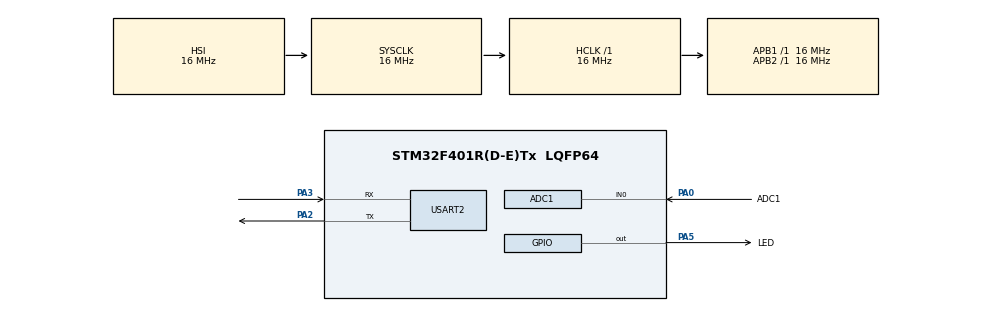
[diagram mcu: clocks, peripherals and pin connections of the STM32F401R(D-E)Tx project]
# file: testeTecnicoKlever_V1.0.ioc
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ADC1.Channel-0\#ChannelRegularConversion=ADC_CHANNEL_0
ADC1.NbrOfConversionFlag=1
ADC1.Rank-0\#ChannelRegularConversion=1
ADC1.SamplingTime-0\#ChannelRegularConversion=ADC_SAMPLETIME_3CYCLES
ADC1.master=1
FREERTOS.Tasks01=ADC_Task,-1,128,ADCTask,Default,NULL,Dynamic,NULL,NULL;SERIAL_Task,0,128,SerialTask,Default,NULL,Dynamic,NULL,NULL;LED_Task,-2,128,LedTask,Default,NULL,Dynamic,NULL,NULL
Mcu.Family=STM32F4
Mcu.Name=STM32F401R(D-E)Tx
Mcu.Package=LQFP64
NVIC.PriorityGroup=NVIC_PRIORITYGROUP_4
NVIC.TIM1_UP_TIM10_IRQn=true\:0\:0\:false\:false\:true\:false\:false\:true
NVIC.TimeBase=TIM1_UP_TIM10_IRQn
NVIC.TimeBaseIP=TIM1
NVIC.USART2_IRQn=true\:5\:0\:false\:false\:true\:true\:true\:true
PA0-WKUP.GPIO_Label=ADC1
PA0-WKUP.Signal=ADCx_IN0
PA13.Mode=Serial_Wire
PA13.Signal=SYS_JTMS-SWDIO
PA14.Mode=Serial_Wire
PA14.Signal=SYS_JTCK-SWCLK
PA2.Mode=Asynchronous
PA2.Signal=USART2_TX
PA3.Mode=Asynchronous
PA3.Signal=USART2_RX
PA5.GPIO_Label=LED
PA5.Signal=GPIO_Output
ProjectManager.HeapSize=0x200
ProjectManager.StackSize=0x400
ProjectManager.TargetToolchain=STM32CubeIDE
RCC.AHBFreq_Value=16000000
RCC.APB1Freq_Value=16000000
RCC.APB2Freq_Value=16000000
RCC.CortexFreq_Value=16000000
RCC.HSE_VALUE=25000000
RCC.HSI_VALUE=16000000
RCC.LSE_VALUE=32768
RCC.SYSCLKFreq_VALUE=16000000
RCC.VCOOutputFreq_Value=192000000
SH.ADCx_IN0.0=ADC1_IN0,IN0
USART2.VirtualMode=VM_ASYNC
VP_FREERTOS_VS_CMSIS_V1.Mode=CMSIS_V1
VP_SYS_VS_tim1.Mode=TIM1
board=custom

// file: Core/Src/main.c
/* USER CODE BEGIN Header */
/**
  ******************************************************************************
  * @file           : main.c
  * @brief          : Main program body
  ******************************************************************************
  * @attention
  *
  * <h2><center>&copy; Copyright (c) 2021 STMicroelectronics.
  * All rights reserved.</center></h2>
  *
  * This software component is licensed by ST under Ultimate Liberty license
  * SLA0044, the "License"; You may not use this file except in compliance with
  * the License. You may obtain a copy of the License at:
  *                             www.st.com/SLA0044
  *
  ******************************************************************************
  */
/* USER CODE END Header */
#include "main.h"
#include "cmsis_os.h"
#include "adc.h"
#include "usart.h"
#include "gpio.h"

/* USER CODE BEGIN Includes */
#include "queue.h"
#include "semphr.h"
/* USER CODE END Includes */

/* USER CODE BEGIN PV */
uint8_t DummyRxConsole;
/* USER CODE END PV */

void SystemClock_Config(void);
void MX_FREERTOS_Init(void);

int main(void)
{

  /* MCU Configuration--------------------------------------------------------*/

  /* Reset of all peripherals, Initializes the Flash interface and the Systick. */
  HAL_Init();

  /* Configure the system clock */
  SystemClock_Config();

  /* Initialize all configured peripherals */
  MX_GPIO_Init();
  MX_ADC1_Init();
  MX_USART2_UART_Init();
  /* USER CODE BEGIN 2 */
  /* Inicializa interrupção da Serial */
  HAL_UART_Receive_IT(&huart2,&DummyRxConsole, 1);
  /* Inicia ADC */
  HAL_ADC_Start(&hadc1);
  /* USER CODE END 2 */

  /* Call init function for freertos objects (in freertos.c) */
  MX_FREERTOS_Init();
  /* Start scheduler */
  osKernelStart();

  /* We should never get here as control is now taken by the scheduler */
  /* Infinite loop */
  while (1)
  {

  }
}

void SystemClock_Config(void)
{
  RCC_OscInitTypeDef RCC_OscInitStruct = {0};
  RCC_ClkInitTypeDef RCC_ClkInitStruct = {0};

  /** Configure the main internal regulator output voltage
  */
  __HAL_RCC_PWR_CLK_ENABLE();
  __HAL_PWR_VOLTAGESCALING_CONFIG(PWR_REGULATOR_VOLTAGE_SCALE2);
  /** Initializes the RCC Oscillators according to the specified parameters
  * in the RCC_OscInitTypeDef structure.
  */
  RCC_OscInitStruct.OscillatorType = RCC_OSCILLATORTYPE_HSI;
  RCC_OscInitStruct.HSIState = RCC_HSI_ON;
  RCC_OscInitStruct.HSICalibrationValue = RCC_HSICALIBRATION_DEFAULT;
  RCC_OscInitStruct.PLL.PLLState = RCC_PLL_NONE;
  if (HAL_RCC_OscConfig(&RCC_OscInitStruct) != HAL_OK)
  {
    Error_Handler();
  }
  /** Initializes the CPU, AHB and APB buses clocks
  */
  RCC_ClkInitStruct.ClockType = RCC_CLOCKTYPE_HCLK|RCC_CLOCKTYPE_SYSCLK
                              |RCC_CLOCKTYPE_PCLK1|RCC_CLOCKTYPE_PCLK2;
  RCC_ClkInitStruct.SYSCLKSource = RCC_SYSCLKSOURCE_HSI;
  RCC_ClkInitStruct.AHBCLKDivider = RCC_SYSCLK_DIV1;
  RCC_ClkInitStruct.APB1CLKDivider = RCC_HCLK_DIV1;
  RCC_ClkInitStruct.APB2CLKDivider = RCC_HCLK_DIV1;

  if (HAL_RCC_ClockConfig(&RCC_ClkInitStruct, FLASH_LATENCY_0) != HAL_OK)
  {
    Error_Handler();
  }
}

 /**
  * @brief  Period elapsed callback in non blocking mode
  * @note   This function is called  when TIM1 interrupt took place, inside
  * HAL_TIM_IRQHandler(). It makes a direct call to HAL_IncTick() to increment
  * a global variable "uwTick" used as application time base.
  * @param  htim : TIM handle
  * @retval None
  */
void HAL_TIM_PeriodElapsedCallback(TIM_HandleTypeDef *htim)
{
  if (htim->Instance == TIM1) {
    HAL_IncTick();
  }
}

void Error_Handler(void)
{
  __disable_irq();
  while (1)
  {
  }
}

/************************ (C) COPYRIGHT STMicroelectronics *****END OF FILE****/

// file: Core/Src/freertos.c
/* USER CODE BEGIN Header */
/**
  ******************************************************************************
  * File Name          : freertos.c
  * Description        : Code for freertos applications
  ******************************************************************************
  * @attention
  *
  * <h2><center>&copy; Copyright (c) 2021 STMicroelectronics.
  * All rights reserved.</center></h2>
  *
  * This software component is licensed by ST under Ultimate Liberty license
  * SLA0044, the "License"; You may not use this file except in compliance with
  * the License. You may obtain a copy of the License at:
  *                             www.st.com/SLA0044
  *
  ******************************************************************************
  */
/* USER CODE END Header */

#include "FreeRTOS.h"
#include "task.h"
#include "main.h"
#include "cmsis_os.h"

/* USER CODE BEGIN Includes */
#include "comm.h"
#include "adc.h"
/* USER CODE END Includes */

/* USER CODE BEGIN Variables */
QueueHandle_t xUartTaskQueue;
QueueHandle_t xLedTaskQueue;

SemaphoreHandle_t xUartSemaphore;
/* USER CODE END Variables */
osThreadId ADC_TaskHandle;
osThreadId SERIAL_TaskHandle;
osThreadId LED_TaskHandle;

void ADCTask(void const * argument);
void SerialTask(void const * argument);
void LedTask(void const * argument);

void MX_FREERTOS_Init(void); /* (MISRA C 2004 rule 8.1) */

/* GetIdleTaskMemory prototype (linked to static allocation support) */
void vApplicationGetIdleTaskMemory( StaticTask_t **ppxIdleTaskTCBBuffer, StackType_t **ppxIdleTaskStackBuffer, uint32_t *pulIdleTaskStackSize );

/* USER CODE BEGIN GET_IDLE_TASK_MEMORY */
static StaticTask_t xIdleTaskTCBBuffer;
static StackType_t xIdleStack[configMINIMAL_STACK_SIZE];

void vApplicationGetIdleTaskMemory( StaticTask_t **ppxIdleTaskTCBBuffer, StackType_t **ppxIdleTaskStackBuffer, uint32_t *pulIdleTaskStackSize )
{
  *ppxIdleTaskTCBBuffer = &xIdleTaskTCBBuffer;
  *ppxIdleTaskStackBuffer = &xIdleStack[0];
  *pulIdleTaskStackSize = configMINIMAL_STACK_SIZE;
  /* place for user code */
}
/* USER CODE END GET_IDLE_TASK_MEMORY */

void MX_FREERTOS_Init(void) {

  /* USER CODE BEGIN RTOS_SEMAPHORES */
  /* add semaphores, ... */
  /* Semáforo para compartilhamento da serial entre as tasks */
  xUartSemaphore = xSemaphoreCreateMutex();
  /* USER CODE END RTOS_SEMAPHORES */

  /* USER CODE BEGIN RTOS_QUEUES */
  /* add queues, ... */
  /* Fila entre ISR e SERIAL_Task */
  xUartTaskQueue = xQueueCreate(5, sizeof(uint8_t));
  /* Fila entre SERIAL_Task e LED_Task */
  xLedTaskQueue = xQueueCreate(5, sizeof(uint8_t));
  /* USER CODE END RTOS_QUEUES */

  /* Create the thread(s) */
  /* definition and creation of ADC_Task */
  osThreadDef(ADC_Task, ADCTask, osPriorityBelowNormal, 0, 128);
  ADC_TaskHandle = osThreadCreate(osThread(ADC_Task), NULL);

  /* definition and creation of SERIAL_Task */
  osThreadDef(SERIAL_Task, SerialTask, osPriorityNormal, 0, 128);
  SERIAL_TaskHandle = osThreadCreate(osThread(SERIAL_Task), NULL);

  /* definition and creation of LED_Task */
  osThreadDef(LED_Task, LedTask, osPriorityLow, 0, 128);
  LED_TaskHandle = osThreadCreate(osThread(LED_Task), NULL);

}

/* USER CODE BEGIN Header_ADCTask */
/**
  * @brief Task responsável pela leitura do canal 0 do ADC 1. Caso a task seja notificada, envia a
  * leitura do ADC pela serial.
  */
/* USER CODE END Header_ADCTask */
void ADCTask(void const * argument)
{
  /* USER CODE BEGIN ADCTask */
  /* Infinite loop */
  for(;;)
  {
	/* Leitura do ADC */
	HAL_ADC_PollForConversion(&hadc1, HAL_MAX_DELAY);
	uint32_t valorAD = HAL_ADC_GetValue(&hadc1);
	/* Checa se a task recebeu notificação. Não perde tempo de execução aguardando a notificação*/
	uint32_t DummyNotification = 0;
	BaseType_t TaskNotify = xTaskNotifyWait(pdFALSE, pdTRUE, &DummyNotification, 0);
	if(TaskNotify == pdTRUE){
		/* Caso tenha recebido a notificação, aguarda o semáforo para enviar o valor pela serial*/
		if(xSemaphoreTake(xUartSemaphore, portMAX_DELAY)){
			SendLeituraADC(valorAD);
			xSemaphoreGive(xUartSemaphore);
		}
	}
    osDelay(100);
  }
  /* USER CODE END ADCTask */
}

/* USER CODE BEGIN Header_SerialTask */
/**
* @brief Recebe os comandos da ISR de Serial através da fila xUartTaskQueue. Atua como um "gerente"
* do sistema, enviando comandos para atuação do LED através da fila xLedTaskQueue bem como
* envio da leitura do ADC pela serial através de uma notificação enviada a task ADCTask.
* Possui a maior prioridade entre as tasks para uma maior rapidez na execução dos comandos
* recebidos pela ISR.
*/
/* USER CODE END Header_SerialTask */
void SerialTask(void const * argument)
{
  /* USER CODE BEGIN SerialTask */
  char CMDUartRcv = 0;
  /* Infinite loop */
  for(;;)
  {
	  if(xQueueReceive(xUartTaskQueue, &CMDUartRcv, portMAX_DELAY)){
		  switch(CMDUartRcv){
		  case LIGAR_LED:
				if(xSemaphoreTake(xUartSemaphore, portMAX_DELAY)){
					SendACK(LED_CMD_BYTE);
					xSemaphoreGive(xUartSemaphore);
				}
				xQueueSend(xLedTaskQueue, &CMDUartRcv, portMAX_DELAY);
			  break;
		  case DESLIGAR_LED:
				if(xSemaphoreTake(xUartSemaphore, portMAX_DELAY)){
					SendACK(LED_CMD_BYTE);
					xSemaphoreGive(xUartSemaphore);
				}
				xQueueSend(xLedTaskQueue, &CMDUartRcv, portMAX_DELAY);
			  break;

		  case TOOGLE_LED:
				if(xSemaphoreTake(xUartSemaphore, portMAX_DELAY)){
					SendACK(LED_CMD_BYTE);
					xSemaphoreGive(xUartSemaphore);
				}
				xQueueSend(xLedTaskQueue, &CMDUartRcv, portMAX_DELAY);
			  break;
		  case LOOP_BACK:
				if(xSemaphoreTake(xUartSemaphore, portMAX_DELAY)){
					SendLoopBack();
					xSemaphoreGive(xUartSemaphore);
				}
			  break;

		  case LER_AD:
			  /* Notificação recebe valor 0x00 e parâmetro eAction igual a eNoAction
			   * pois não é usado o array de notificação da task. */
			  xTaskNotify(ADC_TaskHandle, 0, eNoAction);
			  break;

		  case PACOTE_INCORRETO:
			  	/* Caso o pacote recebido pela ISR esteja fora do padrão do protocolo estabelecido
			  	 * retorna um ACK alertando falha na comunicação */
				if(xSemaphoreTake(xUartSemaphore, portMAX_DELAY)){
					SendPacoteIncorreto();
					xSemaphoreGive(xUartSemaphore);
				}
			  break;
		  }
	  }
    osDelay(1);
  }
  /* USER CODE END SerialTask */
}

/* USER CODE BEGIN Header_LedTask */
/**
* @brief Task para execução das operações do LED. Recebe a operação através da fila
*  xLedTaskQueue.
*/
/* USER CODE END Header_LedTask */
void LedTask(void const * argument)
{
  /* USER CODE BEGIN LedTask */
	char CMDLedRcv = 0;
  /* Infinite loop */
  for(;;)
  {
	  if(xQueueReceive(xLedTaskQueue,&CMDLedRcv, portMAX_DELAY)){
		  switch(CMDLedRcv){
			  case LIGAR_LED:
				  HAL_GPIO_WritePin(LED_GPIO_Port, LED_Pin, GPIO_PIN_SET);
				  break;
			  case DESLIGAR_LED:
				  HAL_GPIO_WritePin(LED_GPIO_Port, LED_Pin, GPIO_PIN_RESET);
				  break;
			  case TOOGLE_LED:
				  HAL_GPIO_TogglePin(LED_GPIO_Port, LED_Pin);
				  break;
		  }
	  }
    osDelay(1);
  }
  /* USER CODE END LedTask */
}

/************************ (C) COPYRIGHT STMicroelectronics *****END OF FILE****/
